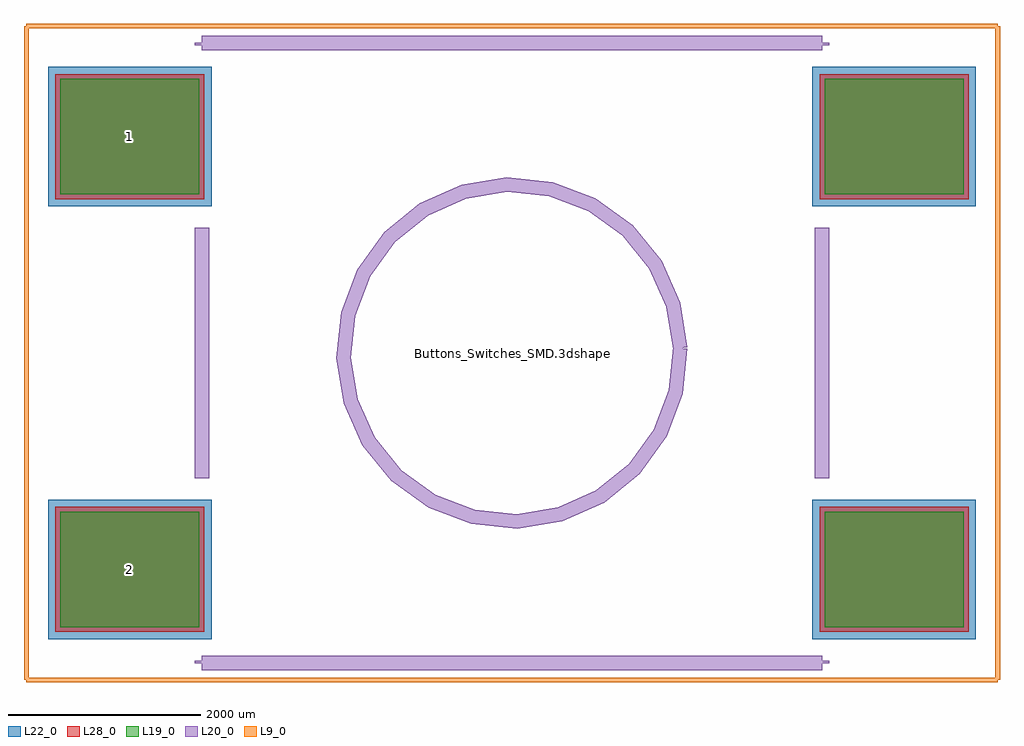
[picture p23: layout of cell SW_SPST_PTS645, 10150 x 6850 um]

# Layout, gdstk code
import gdstk
lib = gdstk.Library(unit=1e-6, precision=1e-09)
def R(c, l, rs):  # rectangles x0, y0, x1, y1
    for r in rs: c.add(gdstk.rectangle(r[:2], r[2:], *l))
L9_0 = (9, 0)
L19_0 = (19, 0)
L20_0 = (20, 0)
L22_0 = (22, 0)
L28_0 = (28, 0)

sw_spst_pts645 = lib.new_cell('SW_SPST_PTS645')
R(sw_spst_pts645, L19_0, [(-4700,-2850,-3250,-1650), (3250,-2850,4700,-1650), (-4700,1650,-3250,2850), (3250,1650,4700,2850)])
R(sw_spst_pts645, L22_0, [(-4825,-2975,-3125,-1525), (3125,-2975,4825,-1525), (-4825,1525,-3125,2975), (3125,1525,4825,2975)])
R(sw_spst_pts645, L28_0, [(-4750,-2900,-3200,-1600), (3200,-2900,4750,-1600), (-4750,1600,-3200,2900), (3200,1600,4750,2900)])
sw_spst_pts645.add(gdstk.FlexPath([(-3225,-3225),(3225,-3225)], 149.998, ends="flush", simple_path=True, layer=20, datatype=0))  # L20_0
sw_spst_pts645.add(gdstk.FlexPath([(-3225,1300),(-3225,-1300)], 149.998, ends="flush", simple_path=True, layer=20, datatype=0))  # L20_0
sw_spst_pts645.add(gdstk.FlexPath([(-3225,3225),(3225,3225)], 149.998, ends="flush", simple_path=True, layer=20, datatype=0))  # L20_0
sw_spst_pts645.add(gdstk.FlexPath([(3225,1300),(3225,-1300)], 149.998, ends="flush", simple_path=True, layer=20, datatype=0))  # L20_0
sw_spst_pts645.add(gdstk.FlexPath([(-3225,3200),(-3225,3225)], 149.998, ends="flush", simple_path=True, layer=20, datatype=0))  # L20_0
sw_spst_pts645.add(gdstk.FlexPath([(-3225,-3225),(-3225,-3200)], 149.998, ends="flush", simple_path=True, layer=20, datatype=0))  # L20_0
sw_spst_pts645.add(gdstk.FlexPath([(3225,-3225),(3225,-3200)], 149.998, ends="flush", simple_path=True, layer=20, datatype=0))  # L20_0
sw_spst_pts645.add(gdstk.FlexPath([(3225,3225),(3225,3200)], 149.998, ends="flush", simple_path=True, layer=20, datatype=0))  # L20_0
sw_spst_pts645.add(gdstk.FlexPath([(-5050,3400),(5050,3400)], 50, ends="flush", simple_path=True, layer=9, datatype=0))  # L9_0
sw_spst_pts645.add(gdstk.FlexPath([(-5050,-3400),(5050,-3400)], 50, ends="flush", simple_path=True, layer=9, datatype=0))  # L9_0
sw_spst_pts645.add(gdstk.FlexPath([(-5050,3400),(-5050,-3400)], 50, ends="flush", simple_path=True, layer=9, datatype=0))  # L9_0
sw_spst_pts645.add(gdstk.FlexPath([(5050,-3400),(5050,3400)], 50, ends="flush", simple_path=True, layer=9, datatype=0))  # L9_0
sw_spst_pts645.add(gdstk.FlexPath([(1750,50),(1677.429,501.23),(1490.544,918.301),(1202.082,1272.792),(831.699,1540.544),(404.637,1703.311),(-50,1750),(-501.23,1677.429),(-918.301,1490.544),(-1272.792,1202.082),(-1540.544,831.699),(-1703.311,404.637),(-1750,-50),(-1677.429,-501.23),(-1490.544,-918.301),(-1202.082,-1272.792),(-831.699,-1540.544),(-404.637,-1703.311),(50,-1750),(501.23,-1677.429),(918.301,-1490.544),(1272.792,-1202.082),(1540.544,-831.699),(1703.311,-404.637),(1750,50)], 149.998, ends="flush", simple_path=True, layer=20, datatype=0))  # L20_0
sw_spst_pts645.add(gdstk.Label('Buttons_Switches_SMD.3dshapes/SW_SPST_PTS645.wrl', (0,0), layer=12, texttype=0))
sw_spst_pts645.add(gdstk.Label('1', (-3975,2250), layer=28, texttype=0))
sw_spst_pts645.add(gdstk.Label('2', (-3975,-2250), layer=28, texttype=0))
sw_spst_pts645.add(gdstk.Label('type', (0,-4150), layer=9, texttype=0))
sw_spst_pts645.add(gdstk.Label('devicename', (0,4050), layer=9, texttype=0))

lib.write_gds('SW_SPST_PTS645.gds')
